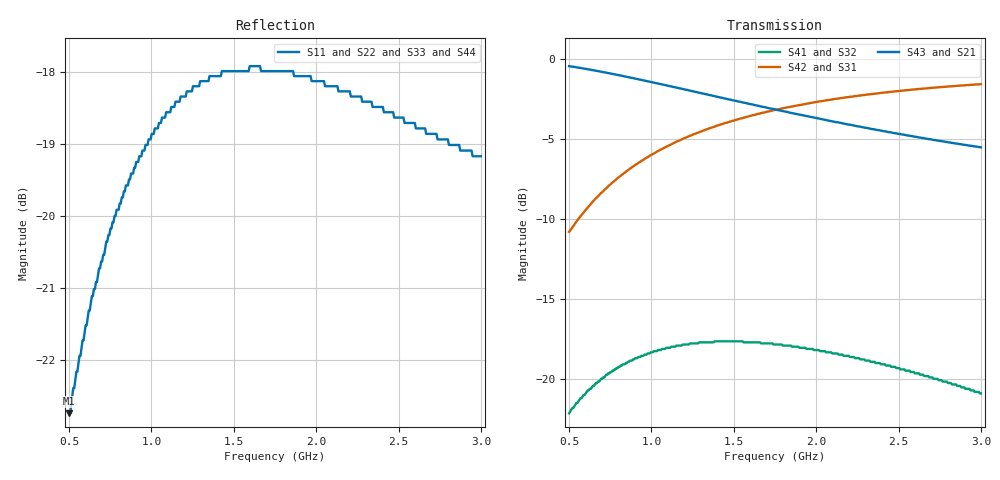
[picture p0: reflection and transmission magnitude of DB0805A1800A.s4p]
!	AVX THIN FILM OPERATION
!	0805 SIZE 3dB 90deg COUPLER P/N DB0805A1800AWTR
!	Created March 23 2003
!	Network Analyzer HP8720E S.07.64: Feb23, 2000 Serial No.US39172382
#	MHZ	S	MA	R	50
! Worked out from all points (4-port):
!   400 points, 500 MHz to 3 GHz, reference 50 ohm
!   strongest paths, dB at 500 MHz, 1.127 GHz, 1.753 GHz, 2.38 GHz, 3 GHz:
!     S43: -0.5, -1.7, -3.2, -4.5, -5.5
!     S21: -0.5, -1.7, -3.2, -4.5, -5.5
!     S42: -10.8, -5.3, -3.2, -2.1, -1.6
!     S31: -10.8, -5.3, -3.2, -2.1, -1.6
!     S41: -22.2, -18.0, -17.9, -19.0, -20.9
!     S32: -22.2, -18.0, -17.9, -19.0, -20.9
!   lowest |S11| = -22.7 dB at 500 MHz (marker M1), VSWR 1.16, Z = 45.7 - j5.5 ohm
!   |S11| at or under -10 dB: start of sweep to end of sweep
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500  0.073 -124.9  0.949 -18.0  0.288 70.8  0.078 56.1
     0.949 -18.0  0.073 -124.9  0.078 56.1  0.288 70.8
     0.288 70.8  0.078 56.1  0.073 -124.9  0.949 -18.0
     0.078 56.1  0.288 70.8  0.949 -18.0  0.073 -124.9
662.907  0.09 -135.9  0.918 -23.2  0.367 65.3  0.097 46.2
         0.918 -23.2  0.09 -135.9  0.097 46.2  0.367 65.3
         0.367 65.3  0.097 46.2  0.09 -135.9  0.918 -23.2
         0.097 46.2  0.367 65.3  0.918 -23.2  0.09 -135.9
869.674  0.106 -148.6  0.875 -29.2  0.454 59.0  0.114 34.9
         0.875 -29.2  0.106 -148.6  0.114 34.9  0.454 59.0
         0.454 59.0  0.114 34.9  0.106 -148.6  0.875 -29.2
         0.114 34.9  0.454 59.0  0.875 -29.2  0.106 -148.6
1088.972  0.118 -160.6  0.827 -34.8  0.531 53.2  0.125 24.4
          0.827 -34.8  0.118 -160.6  0.125 24.4  0.531 53.2
          0.531 53.2  0.125 24.4  0.118 -160.6  0.827 -34.8
          0.125 24.4  0.531 53.2  0.827 -34.8  0.118 -160.6
1383.459  0.125 -174.6  0.765 -41.4  0.614 46.5  0.131 12.4
          0.765 -41.4  0.125 -174.6  0.131 12.4  0.614 46.5
          0.614 46.5  0.131 12.4  0.125 -174.6  0.765 -41.4
          0.131 12.4  0.614 46.5  0.765 -41.4  0.125 -174.6
2154.135  0.122 157.0  0.63 -54.7  0.755 33.6  0.119 -9.0
          0.63 -54.7  0.122 157.0  0.119 -9.0  0.755 33.6
          0.755 33.6  0.119 -9.0  0.122 157.0  0.63 -54.7
          0.119 -9.0  0.755 33.6  0.63 -54.7  0.122 157.0
3000  0.11 133.7  0.529 -65.1  0.834 23.7  0.09 -18.9
      0.529 -65.1  0.11 133.7  0.09 -18.9  0.834 23.7
      0.834 23.7  0.09 -18.9  0.11 133.7  0.529 -65.1
      0.09 -18.9  0.834 23.7  0.529 -65.1  0.11 133.7
